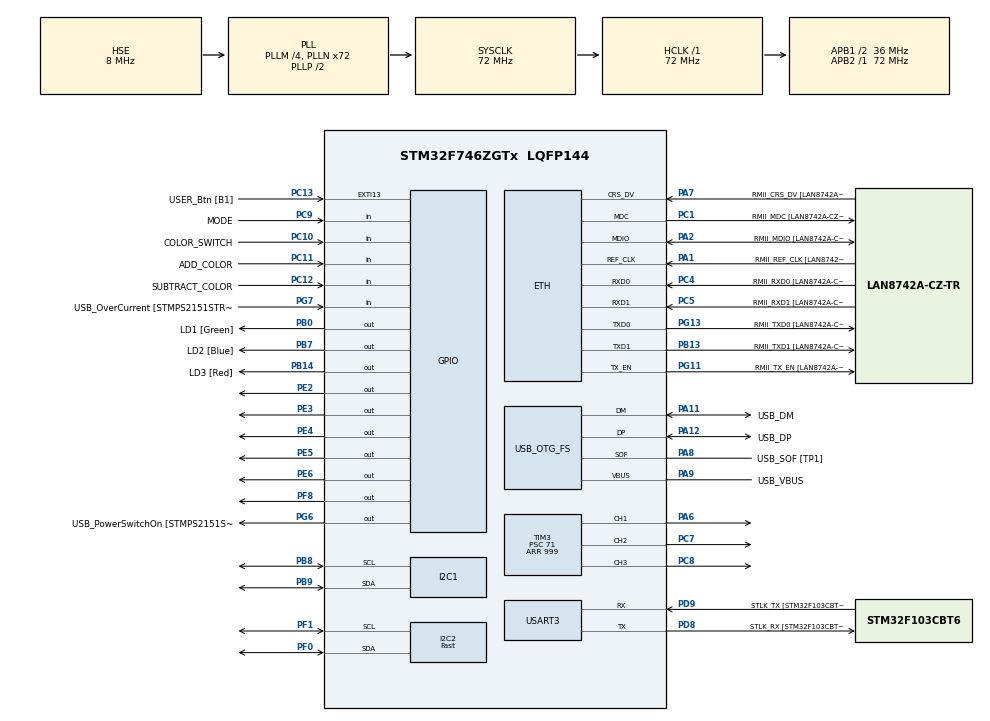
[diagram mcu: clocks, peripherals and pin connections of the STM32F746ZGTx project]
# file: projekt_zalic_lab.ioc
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ETH.MediaInterface=HAL_ETH_RMII_MODE
ETH.PHY_Name=LAN8742A_PHY_ADDRESS
ETH.PHY_Value=0
ETH.PhyAddress=0
I2C1.Timing=0x00808CD2
I2C2.I2C_Speed_Mode=I2C_Fast
I2C2.Timing=0x00301739
Mcu.Family=STM32F7
Mcu.Name=STM32F746ZGTx
Mcu.Package=LQFP144
NVIC.PriorityGroup=NVIC_PRIORITYGROUP_4
PA1.GPIO_Label=RMII_REF_CLK [LAN8742A-CZ-TR_REFCLK0]
PA1.Mode=RMII
PA1.Signal=ETH_REF_CLK
PA10.GPIO_Label=USB_ID
PA10.Signal=USB_OTG_FS_ID
PA11.GPIO_Label=USB_DM
PA11.Mode=Device_Only
PA11.Signal=USB_OTG_FS_DM
PA12.GPIO_Label=USB_DP
PA12.Mode=Device_Only
PA12.Signal=USB_OTG_FS_DP
PA13.GPIO_Label=TMS
PA13.Mode=Serial_Wire
PA13.Signal=SYS_JTMS-SWDIO
PA14.GPIO_Label=TCK
PA14.Mode=Serial_Wire
PA14.Signal=SYS_JTCK-SWCLK
PA2.GPIO_Label=RMII_MDIO [LAN8742A-CZ-TR_MDIO]
PA2.Mode=RMII
PA2.Signal=ETH_MDIO
PA6.Signal=S_TIM3_CH1
PA7.GPIO_Label=RMII_CRS_DV [LAN8742A-CZ-TR_CRS_DV]
PA7.Mode=RMII
PA7.Signal=ETH_CRS_DV
PA8.GPIO_Label=USB_SOF [TP1]
PA8.Mode=Activate_SOF_FS
PA8.Signal=USB_OTG_FS_SOF
PA9.GPIO_Label=USB_VBUS
PA9.Mode=Activate_VBUS
PA9.Signal=USB_OTG_FS_VBUS
PB0.GPIO_Label=LD1 [Green]
PB0.Signal=GPIO_Output
PB13.GPIO_Label=RMII_TXD1 [LAN8742A-CZ-TR_TXD1]
PB13.Mode=RMII
PB13.Signal=ETH_TXD1
PB14.GPIO_Label=LD3 [Red]
PB14.Signal=GPIO_Output
PB3.GPIO_Label=SW0
PB3.Signal=SYS_JTDO-SWO
PB7.GPIO_Label=LD2 [Blue]
PB7.Signal=GPIO_Output
PB8.Mode=I2C
PB8.Signal=I2C1_SCL
PB9.Mode=I2C
PB9.Signal=I2C1_SDA
PC1.GPIO_Label=RMII_MDC [LAN8742A-CZ-TR_MDC]
PC1.Mode=RMII
PC1.Signal=ETH_MDC
PC10.GPIO_Label=COLOR_SWITCH
PC10.Signal=GPIO_Input
PC11.GPIO_Label=ADD_COLOR
PC11.Signal=GPIO_Input
PC12.GPIO_Label=SUBTRACT_COLOR
PC12.Signal=GPIO_Input
PC13.GPIO_Label=USER_Btn [B1]
PC13.Signal=GPXTI13
PC14/OSC32_IN.Mode=LSE-External-Oscillator
PC14/OSC32_IN.Signal=RCC_OSC32_IN
PC15/OSC32_OUT.Mode=LSE-External-Oscillator
PC15/OSC32_OUT.Signal=RCC_OSC32_OUT
PC4.GPIO_Label=RMII_RXD0 [LAN8742A-CZ-TR_RXD0]
PC4.Mode=RMII
PC4.Signal=ETH_RXD0
PC5.GPIO_Label=RMII_RXD1 [LAN8742A-CZ-TR_RXD1]
PC5.Mode=RMII
PC5.Signal=ETH_RXD1
PC7.Signal=S_TIM3_CH2
PC8.Signal=S_TIM3_CH3
PC9.GPIO_Label=MODE
PC9.GPIO_PuPd=GPIO_NOPULL
PC9.Signal=GPIO_Input
PD8.GPIO_Label=STLK_RX [STM32F103CBT6_PA3]
PD8.GPIO_PuPd=GPIO_PULLUP
PD8.Mode=Asynchronous
PD8.Signal=USART3_TX
PD9.GPIO_Label=STLK_TX [STM32F103CBT6_PA2]
PD9.GPIO_PuPd=GPIO_PULLUP
PD9.Mode=Asynchronous
PD9.Signal=USART3_RX
PE2.Signal=GPIO_Output
PE3.Signal=GPIO_Output
PE4.Signal=GPIO_Output
PE5.Signal=GPIO_Output
PE6.Signal=GPIO_Output
PF0.Mode=I2C
PF0.Signal=I2C2_SDA
PF1.Mode=I2C
PF1.Signal=I2C2_SCL
PF8.Signal=GPIO_Output
PG11.GPIO_Label=RMII_TX_EN [LAN8742A-CZ-TR_TXEN]
PG11.Mode=RMII
PG11.Signal=ETH_TX_EN
PG13.GPIO_Label=RMII_TXD0 [LAN8742A-CZ-TR_TXD0]
PG13.Mode=RMII
PG13.Signal=ETH_TXD0
PG6.GPIO_Label=USB_PowerSwitchOn [STMPS2151STR_EN]
PG6.Signal=GPIO_Output
PG7.GPIO_Label=USB_OverCurrent [STMPS2151STR_FAULT]
PG7.Signal=GPIO_Input
PH0/OSC_IN.GPIO_Label=MCO [STM32F103CBT6_PA8]
PH0/OSC_IN.Mode=HSE-External-Clock-Source
PH0/OSC_IN.Signal=RCC_OSC_IN
PH1/OSC_OUT.Mode=HSE-External-Clock-Source
PH1/OSC_OUT.Signal=RCC_OSC_OUT
ProjectManager.HeapSize=0x200
ProjectManager.StackSize=0x400
ProjectManager.TargetToolchain=STM32CubeIDE
RCC.48MHZClocksFreq_Value=24000000
RCC.AHBFreq_Value=72000000
RCC.APB1CLKDivider=RCC_HCLK_DIV2
RCC.APB1Freq_Value=36000000
RCC.APB1TimFreq_Value=72000000
RCC.APB2Freq_Value=72000000
RCC.APB2TimFreq_Value=72000000
RCC.CortexFreq_Value=72000000
RCC.HCLKFreq_Value=72000000
RCC.HSE_VALUE=8000000
RCC.HSI_VALUE=16000000
RCC.PLLM=4
RCC.PLLMUL=RCC_PLL_MUL9
RCC.PLLN=72
RCC.PLLQ=3
RCC.PRESCALERUSB=RCC_USBCLKSOURCE_PLL_DIV1_5
RCC.SYSCLKFreq_VALUE=72000000
RCC.SYSCLKSource=RCC_SYSCLKSOURCE_PLLCLK
RCC.SYSCLKSourceVirtual=RCC_SYSCLKSOURCE_PLLCLK
RCC.USBFreq_Value=48000000
RCC.VCOOutputFreq_Value=144000000
SH.S_TIM3_CH1.0=TIM3_CH1,PWM Generation1 CH1
SH.S_TIM3_CH2.0=TIM3_CH2,PWM Generation2 CH2
SH.S_TIM3_CH3.0=TIM3_CH3,PWM Generation3 CH3
TIM3.Channel-PWM\ Generation1\ CH1=TIM_CHANNEL_1
TIM3.Channel-PWM\ Generation2\ CH2=TIM_CHANNEL_2
TIM3.Channel-PWM\ Generation3\ CH3=TIM_CHANNEL_3
TIM3.Period=999
TIM3.Prescaler=71
TIM3.Pulse-PWM\ Generation3\ CH3=500
USART3.VirtualMode-Asynchronous=VM_ASYNC
USB_OTG_FS.VirtualMode=Device_Only
board=NUCLEO-F746ZG

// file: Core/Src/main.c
/* USER CODE BEGIN Header */
/**
  ******************************************************************************
  * @file           : main.c
  * @brief          : Main program body
  ******************************************************************************
  * @attention
  *
  * Copyright (c) 2024 STMicroelectronics.
  * All rights reserved.
  *
  * This software is licensed under terms that can be found in the LICENSE file
  * in the root directory of this software component.
  * If no LICENSE file comes with this software, it is provided AS-IS.
  *
  ******************************************************************************
  */
/* USER CODE END Header */
#include "main.h"
#include "eth.h"
#include "i2c.h"
#include "tim.h"
#include "usart.h"
#include "usb_otg.h"
#include "gpio.h"
#include "ssd1306.h"
#include "ssd1306_tests.h"
#include "ssd1306_fonts.h"

/* USER CODE BEGIN Includes */
#include <string.h>
#include <stdio.h>
#include <stdlib.h>
#include <stdbool.h>  // For boolean data type (bool, true, false)
/* USER CODE END Includes */

/* USER CODE BEGIN PD */
#define INPUT_UART_BUFFER_SIZE 4
#define ISL29125_I2C_ADDRESS (0x44 << 1)  // Adres 7-bitowy przesunięty w lewo
# define PWM_FREQUENCY 1000 // Częstotliwość PWM 1 kHz
# define FRAME_LENGTH 5
# define FRAME_SIZE 12 // Komenda ma długość 9 znaków: R050G025B075
/* USER CODE END PD */

/* USER CODE BEGIN PV */
char uart_buffer[50];
char input_uart_buffer[INPUT_UART_BUFFER_SIZE];
char temp_buffer[10];
volatile uint8_t input_uart_index = 0;
volatile uint8_t input_data_ready = 0;
const int MAX_RED_PWM = 21;
const int MAX_GREEN_PWM = 35;
const int MAX_BLUE_PWM = 20;
int R_value = 0;
int G_value = 0;
int B_value = 0;
int R_PWM_channel = 0;
int G_PWM_channel = 0;
int B_PWM_channel = 0;
int color_switch = 0;
int pause_for_user_input = 200;
int pause_for_led = 0;
int max_PWM_red_value = MAX_RED_PWM;
int max_PWM_green_value = MAX_GREEN_PWM;
int max_PWM_blue_value = MAX_BLUE_PWM;
int test_sizeof = 0;
int timer_val;
int oled_screen = 0;
int oled_x_counter = 0;
int oled_x_number_left = 10;
int oled_x_number_right = 20;
int oled_x_coordinate_left = 57;
int oled_x_coordinate_right = 115;
bool normal_mode = true;
bool test;
bool is_number_long = false;
char previous_temp_buffer[10];
char buffor_for_lcd[10];
char mode_normal[] = "mode:normal";
char mode_high[] = "mode:high";
char help[] = "help";
char red_str[3];
char green_str[3];
char blue_str[3];
char number_left[4];
char number_right[4];
//char oled[] = "Hello oled";
void SystemClock_Config(void);

/* USER CODE BEGIN 0 */

void ISL29125_Init() {
    uint8_t config_data[2];

    // Ustawienie trybu pracy
    config_data[0] = 0x01;  // Rejestr konfiguracji
    config_data[1] = 0x05;  // RGB mode, high range, 10-bit resolution
    if (HAL_I2C_Master_Transmit(&hi2c1, ISL29125_I2C_ADDRESS, config_data, 2, HAL_MAX_DELAY) != HAL_OK) {
        HAL_UART_Transmit(&huart3, (uint8_t *)"I2C error in step 1\r\n", strlen("I2C error in step 1\r\n"), HAL_MAX_DELAY);
        Error_Handler();
    }

    // Ustawienie progu pomiarowego (opcjonalne)
    config_data[0] = 0x02;  // Rejestr parametru
    config_data[1] = 0x00;  // Domyślny próg
    if (HAL_I2C_Master_Transmit(&hi2c1, ISL29125_I2C_ADDRESS, config_data, 2, HAL_MAX_DELAY) != HAL_OK) {
        HAL_UART_Transmit(&huart3, (uint8_t *)"I2C error in step 2\r\n", strlen("I2C error in step 2\r\n"), HAL_MAX_DELAY);
        Error_Handler();
    }
    return 0;
}

uint16_t ISL29125_ReadColor(uint8_t color_register) {
    uint8_t reg = color_register;
    uint8_t data[2];

    // Wyślij adres rejestru do odczytu
    if (HAL_I2C_Master_Transmit(&hi2c1, ISL29125_I2C_ADDRESS, &reg, 1, HAL_MAX_DELAY) != HAL_OK) {
        HAL_UART_Transmit(&huart3, (uint8_t *)"I2C error during read transmit\r\n", strlen("I2C error during read transmit\r\n"), HAL_MAX_DELAY);
        Error_Handler();
    }

    // Odczytaj dane (2 bajty)
    if (HAL_I2C_Master_Receive(&hi2c1, ISL29125_I2C_ADDRESS, data, 2, HAL_MAX_DELAY) != HAL_OK) {
        HAL_UART_Transmit(&huart3, (uint8_t *)"I2C error during read receive\r\n", strlen("I2C error during read receive\r\n"), HAL_MAX_DELAY);
        Error_Handler();
    }

    // Połącz 2 bajty w 16-bitową wartość
    return (data[1] << 8) | data[0];
}

uint8_t map_value(uint16_t input_value, uint16_t in_min, uint16_t in_max, uint8_t out_min, uint8_t out_max) {
    return (uint8_t)(((input_value - in_min) * (out_max - out_min)) / (in_max - in_min) + out_min);
}

void PWM_Config ( TIM_HandleTypeDef *htim, uint32_t channel, uint32_t frequency, uint32_t duty_cycle ) {
	/* USER CODE BEGIN PWM_Config */
	uint32_t timer_clock = HAL_RCC_GetPCLK1Freq () ; // Zakładamy , że TIM2 jest podłączony do APB1
	uint32_t prescaler = ( timer_clock / ( frequency * 1000) ) - 1; // Preskaler ,aby uzyska ć 1 kHz
	uint32_t period = 1000 - 1; // Okres dla PWM , aby uzyska ć 1000 krok ów ( maks. wypełnienie = 100%)
	uint32_t pulse = ( duty_cycle * ( period + 1) ) / 100; // Wyliczenie wypełnienia na podstawie %

	// Ustawienia preskalera i okresu
	htim -> Init.Prescaler = prescaler;
	htim -> Init.Period = period;
	HAL_TIM_PWM_Init(htim);

	// Konfiguracja wype ł nienia dla wybranego kana łu
	TIM_OC_InitTypeDef sConfigOC;
	sConfigOC . OCMode = TIM_OCMODE_PWM1;
	sConfigOC . Pulse = pulse;
	sConfigOC . OCPolarity = TIM_OCPOLARITY_HIGH;
	sConfigOC . OCFastMode = TIM_OCFAST_DISABLE;

	// Konfiguracja wyjś cia PWM dla wybranego kana łu
	HAL_TIM_PWM_ConfigChannel (htim, &sConfigOC , channel);

/* USER CODE END PWM_Config */
}

void high_mode_Config() {
	normal_mode = false;
	max_PWM_red_value = 100;
	max_PWM_green_value = 100;
	max_PWM_blue_value = 100;

	LCD_Set_Cursor(0, 0);
	LCD_Send_String("MODE: high  ");
}

void normal_mode_Config() {
	normal_mode = true;
	max_PWM_red_value = MAX_RED_PWM;
	max_PWM_green_value = MAX_GREEN_PWM;
	max_PWM_blue_value = MAX_BLUE_PWM;
	if(R_PWM_channel > max_PWM_red_value) {
		R_PWM_channel = max_PWM_red_value;
	}
	if(G_PWM_channel > max_PWM_green_value) {
		G_PWM_channel = max_PWM_green_value;
	}
	if(B_PWM_channel > max_PWM_blue_value) {
		B_PWM_channel = max_PWM_blue_value;
	}

	LCD_Set_Cursor(0, 0);
	LCD_Send_String("MODE: normal");
}

void rewrite_previous_temp_buffer() {
	for(int k = 0; k < 4; k++) {
		previous_temp_buffer[k] = temp_buffer[k];
	}
}

bool check_mode_normal() {
	for(int i = 0; i < 11; i++) {
		if(temp_buffer[i] != mode_normal[i]) {
			return false;
			exit(0);
		}
	}
	return true;
}

int check_mode_high() {
	for(int i = 0; i < 9; i++) {
		if(temp_buffer[i] != mode_high[i]) {
			return 0;
			exit(0);
		}
	}
	return 1;
}

int check_help() {
	for(int i = 0; i < 4; i++) {
		if(temp_buffer[i] != help[i]) {
			return 0;
			exit(0);
		}
	}
	return 1;
}

/* USER CODE END 0 */

int main(void)
{

  /* MCU Configuration--------------------------------------------------------*/

  /* Reset of all peripherals, Initializes the Flash interface and the Systick. */
  HAL_Init();

  /* Configure the system clock */
  SystemClock_Config();

  /* Initialize all configured peripherals */
  MX_GPIO_Init();
  MX_ETH_Init();
  MX_USART3_UART_Init();
  MX_USB_OTG_FS_PCD_Init();
  MX_I2C1_Init();
  MX_TIM3_Init();
  MX_I2C2_Init();
  /* USER CODE BEGIN 2 */
  HAL_UART_Transmit(&huart3, (uint8_t *)"Starting I2C scan...\r\n", strlen("Starting I2C scan...\r\n"), HAL_MAX_DELAY);
  I2C_Scan();
  LCD_Init();

  ssd1306_Init();

  ISL29125_Init();
  snprintf(uart_buffer, sizeof(uart_buffer), "ISL29125 Initialized\r\n");
  HAL_UART_Transmit(&huart3, (uint8_t *)uart_buffer, strlen(uart_buffer), HAL_MAX_DELAY);

  LCD_Clear();
  LCD_Set_Cursor(0, 0);
  LCD_Send_String("MODE: normal");
  LCD_Set_Cursor(0, 13);
  LCD_Send_String("C:R");
  LCD_Set_Cursor(1, 0);
  LCD_Send_String("R0");
  LCD_Set_Cursor(1, 5);
  LCD_Send_String("G0");
  LCD_Set_Cursor(1, 10);
  LCD_Send_String("B0");

  uint32_t last_time_update = HAL_GetTick();
  sprintf(number_left, "%u", oled_x_number_left);
  sprintf(number_right, "%u", oled_x_number_right);
  /* USER CODE END 2 */

  /* Infinite loop */
  while (1)
  {

    /* USER CODE BEGIN 3 */
	  //ssd1306_TestAll();
	  uint16_t green_raw = ISL29125_ReadColor(0x09);    // Odczyt RED
	  uint16_t red_raw = ISL29125_ReadColor(0x0B);  // Odczyt GREEN
	  uint16_t blue_raw = ISL29125_ReadColor(0x0D);   // Odczyt BLUE

	  // Mapowanie wartości do zakresu 0–255
	  uint8_t red = map_value(red_raw, 0, 65535, 0, 255);
	  uint8_t green = map_value(green_raw, 0, 65535, 0, 255);
	  uint8_t blue = map_value(blue_raw, 0, 65535, 0, 255);

	  test = HAL_GPIO_ReadPin(MODE_GPIO_Port, MODE_Pin);

	  test_sizeof = sizeof(temp_buffer);

	  if(HAL_GPIO_ReadPin(MODE_GPIO_Port, MODE_Pin) == 1) {
		  if(normal_mode == true) {
			  high_mode_Config();
		  } else if (normal_mode == false) {
			  normal_mode_Config();
		  }
	  }

	  if(HAL_GPIO_ReadPin(COLOR_SWITCH_GPIO_Port, COLOR_SWITCH_Pin) == 1) {
		  if(color_switch == 0) {
			  color_switch = 1;
			  LCD_Set_Cursor(0, 15);
			  LCD_Send_String("G");

		  } else if(color_switch == 1) {
			  color_switch = 2;
			  LCD_Set_Cursor(0, 15);
			  LCD_Send_String("B");
		  } else if(color_switch == 2) {
			  color_switch = 0;
		      LCD_Set_Cursor(0, 15);
			  LCD_Send_String("R");
		  }
	  }

	  if(HAL_GPIO_ReadPin(ADD_COLOR_GPIO_Port, ADD_COLOR_Pin) == 1) {
		  if(color_switch == 0 && R_value < 255) {
			  R_value++;
			  sprintf(buffor_for_lcd, "%d", R_value);
			  LCD_Set_Cursor(1, 1);
			  LCD_Send_String(buffor_for_lcd);
			  if(R_value < 10) {
				  LCD_Set_Cursor(1, 2);
				  LCD_Send_String(" ");
			  }
			  if(R_value < 100) {
				  LCD_Set_Cursor(1, 3);
				  LCD_Send_String(" ");
			  }
		  } else if (color_switch == 1 && G_value < 255) {
			  G_value++;
			  sprintf(buffor_for_lcd, "%d", G_value);
			  LCD_Set_Cursor(1, 6);
			  LCD_Send_String(buffor_for_lcd);
			  if(G_value < 10) {
				  LCD_Set_Cursor(1, 7);
				  LCD_Send_String(" ");
			  }
			  if(G_value < 100) {
				  LCD_Set_Cursor(1, 8);
				  LCD_Send_String(" ");
			  }
		  } else if (color_switch == 2 && B_value < 255) {
			  B_value++;
			  sprintf(buffor_for_lcd, "%d", B_value);
			  LCD_Set_Cursor(1, 11);
			  LCD_Send_String(buffor_for_lcd);
			  if(B_value < 10) {
				  LCD_Set_Cursor(1, 12);
				  LCD_Send_String(" ");
			  }
			  if(B_value < 100) {
				  LCD_Set_Cursor(1, 13);
				  LCD_Send_String(" ");
			  }
		  }
	  }

	  if(HAL_GPIO_ReadPin(SUBTRACT_COLOR_GPIO_Port, SUBTRACT_COLOR_Pin) == 1) {
		  if(color_switch == 0 && R_value > 0) {
			  R_value--;
			  sprintf(buffor_for_lcd, "%d", R_value);
			  LCD_Set_Cursor(1, 1);
			  LCD_Send_String(buffor_for_lcd);
			  if(R_value < 10) {
				  LCD_Set_Cursor(1, 2);
				  LCD_Send_String(" ");
			  }
			  if(R_value < 100) {
				  LCD_Set_Cursor(1, 3);
				  LCD_Send_String(" ");
			  }
		  } else if(color_switch == 1 && G_value > 0) {
			  G_value--;
			  sprintf(buffor_for_lcd, "%d", G_value);
			  LCD_Set_Cursor(1, 6);
			  LCD_Send_String(buffor_for_lcd);
			  if(G_value < 10) {
				  LCD_Set_Cursor(1, 7);
				  LCD_Send_String(" ");
			  }
			  if(G_value < 100) {
				  LCD_Set_Cursor(1, 8);
				  LCD_Send_String(" ");
			  }

		  } else if(color_switch == 2 && B_value > 0) {
			  B_value--;
			  sprintf(buffor_for_lcd, "%d", B_value);
			  LCD_Set_Cursor(1, 11);
			  LCD_Send_String(buffor_for_lcd);
			  if(B_value < 10) {
				  LCD_Set_Cursor(1, 12);
				  LCD_Send_String(" ");
			  }
			  if(B_value < 100) {
				  LCD_Set_Cursor(1, 13);
				  LCD_Send_String(" ");
			  }
		  }
	  }

	  if(HAL_GPIO_ReadPin(USER_Btn_GPIO_Port, USER_Btn_Pin) == 1) {
		  	  if(oled_screen != 3) {
		  		oled_screen++;
		  	  } else {
		  		  oled_screen = 0;
		  	  }
	  		  oled_x_counter = 0;
	  		  ssd1306_Fill(Black);
	  		  oled_x_number_left = 10;
	  		  oled_x_number_right = 20;
	  		  sprintf(number_left, "%u", oled_x_number_left);
	  		  sprintf(number_right, "%u", oled_x_number_right);
	  		  oled_x_coordinate_left = 57;
	  		  oled_x_coordinate_right = 115;
	  	  }

	  if(pause_for_led >= 500) {
		  if(red < R_value) {
			  if(R_PWM_channel < max_PWM_red_value) {
				  R_PWM_channel++;
			  }
		  } else if(red > R_value) {
			  if(R_PWM_channel > 0) {
				  R_PWM_channel--;
			  }
		  }

		  if(green < G_value) {
			  if(G_PWM_channel < max_PWM_green_value) {
				  G_PWM_channel++;
			  }
		  } else if(green > G_value) {
			  if(G_PWM_channel > 0) {
				  G_PWM_channel--;
			  }
		  }

		  if(blue < B_value) {
			  if(B_PWM_channel < max_PWM_blue_value) {
				  B_PWM_channel++;
			  }
		  } else if(blue > B_value) {
			  if(B_PWM_channel > 0) {
				  B_PWM_channel--;
			  }
		  }
		  pause_for_led = 0;
	  } else {
		  pause_for_led = pause_for_led + pause_for_user_input;
	  }

	  PWM_Config (&htim3 , TIM_CHANNEL_1 , PWM_FREQUENCY , R_PWM_channel ) ;
	  PWM_Config (&htim3 , TIM_CHANNEL_2 , PWM_FREQUENCY , G_PWM_channel ) ;
	  PWM_Config (&htim3 , TIM_CHANNEL_3 , PWM_FREQUENCY , B_PWM_channel ) ;

	  HAL_TIM_PWM_Start (&htim3 , TIM_CHANNEL_1 ) ;
	  HAL_TIM_PWM_Start (&htim3 , TIM_CHANNEL_2 ) ;
	  HAL_TIM_PWM_Start (&htim3 , TIM_CHANNEL_3 ) ;

	  snprintf(uart_buffer, sizeof(uart_buffer), "R: %u, G: %u, B: %u\r\n", red, green, blue);
	  HAL_UART_Transmit(&huart3, (uint8_t *)uart_buffer, strlen(uart_buffer), HAL_MAX_DELAY);

	  HAL_UART_Receive(&huart3, (uint8_t *)temp_buffer, 11, pause_for_user_input);
	  // Wyślij odebrane dane z powrotem
	  HAL_UART_Transmit(&huart3, (uint8_t *)"Received: ", strlen("Received: "), HAL_MAX_DELAY);

	  HAL_UART_Transmit(&huart3, (uint8_t *)temp_buffer, 11, HAL_MAX_DELAY);
	  HAL_UART_Transmit(&huart3, (uint8_t *)"\r\n", 2, HAL_MAX_DELAY);

	  if(normal_mode == 1) {
		  HAL_UART_Transmit(&huart3, (uint8_t *)"MODE: normal\r\n", strlen("MODE: normal\r\n"), HAL_MAX_DELAY);
	  }
	  else if(normal_mode == 0) {
		  HAL_UART_Transmit(&huart3, (uint8_t *)"MODE: high\r\n", strlen("MODE: high\r\n"), HAL_MAX_DELAY);
	  }

	  for(int i = 0; i < 11; i++) {
		  if (previous_temp_buffer[i] != temp_buffer[i]) {
			  if(temp_buffer[11] != '\000' || temp_buffer[0] == '\000' || temp_buffer[1] == '\000' || temp_buffer[2] == '\000' || temp_buffer[3] == '\000') {
				  HAL_UART_Transmit(&huart3, (uint8_t *)"incorrect commnand\r\n", strlen("incorrect commnand\r\n"), HAL_MAX_DELAY);
				  break;
			  }
			  if(check_mode_normal() == 1) {
				  normal_mode_Config();
				  rewrite_previous_temp_buffer();
				  break;
			  }
			  else if(check_mode_high() == 1) {
				  high_mode_Config();
				  temp_buffer[9] = '\000';
				  temp_buffer[10] = '\000';
				  rewrite_previous_temp_buffer();
				  break;
			  }
			  else if(check_help() == 1) {
				  HAL_UART_Transmit(&huart3, (uint8_t *)"mode:normal - enter normal mode\r\n", strlen("mode:normal - enter normal mode\r\n"), HAL_MAX_DELAY);
				  HAL_UART_Transmit(&huart3, (uint8_t *)"mode:high - enter high mode\r\n", strlen("mode:high - enter high mode\r\n"), HAL_MAX_DELAY);
				  HAL_UART_Transmit(&huart3, (uint8_t *)"COLORXXX - enter parameter to special color, where:\r\n", strlen("COLORXXX - enter parameter to special color, where:\r\n"), HAL_MAX_DELAY);
				  HAL_UART_Transmit(&huart3, (uint8_t *)"in the place COLOR - enter your desired color (R, G, B)\r\n", strlen("in the place COLOR - enter your desired color (R, G, B)\r\n"), HAL_MAX_DELAY);
				  //HAL_UART_Transmit(&huart3, (uint8_t *)"color (R, G, B)\r\n", strlen("color (R, G, B)\r\n"), HAL_MAX_DELAY);
				  HAL_UART_Transmit(&huart3, (uint8_t *)"in the place XXX - enter your desired color value (0 - 255)\r\n", strlen("in the place XXX - enter your desired color value (0 - 255)\r\n"), HAL_MAX_DELAY);
				  HAL_UART_Transmit(&huart3, (uint8_t *)"for example: R175\r\n", strlen("for example: R175\r\n"), HAL_MAX_DELAY);
				  //HAL_UART_Transmit(&huart3, (uint8_t *)"R175\r\n", strlen("R175\r\n"), HAL_MAX_DELAY);
				  for(int k = 4; k < 11; k++) {
					  temp_buffer[k] = '\000';
				  }
				  rewrite_previous_temp_buffer();
				  break;
			  }
			  else if(((temp_buffer[1] - '0') * 100 + (temp_buffer[2] - '0') * 10 + temp_buffer[3] - '0') > 255 || ((temp_buffer[1] - '0') * 100 + (temp_buffer[2] - '0') * 10 + temp_buffer[3] - '0') < 0) {
				  HAL_UART_Transmit(&huart3, (uint8_t *)"incorrect commnand\r\n", strlen("incorrect commnand\r\n"), HAL_MAX_DELAY);
				  break;
			  }
			  if (temp_buffer[0] == 'R') {
				  R_value = (temp_buffer[1] - '0') * 100 + (temp_buffer[2] - '0') * 10 + temp_buffer[3] - '0';
				  sprintf(buffor_for_lcd, "%d", R_value);
				  LCD_Set_Cursor(1, 1);
				  LCD_Send_String(buffor_for_lcd);
				  if(R_value < 10) {
					  LCD_Set_Cursor(1, 2);
					  LCD_Send_String(" ");
				  }
				  if(R_value < 100) {
					  LCD_Set_Cursor(1, 3);
					  LCD_Send_String(" ");
				  }
			  } else if (temp_buffer[0] == 'G') {
				  G_value = (temp_buffer[1] - '0') * 100 + (temp_buffer[2] - '0') * 10 + temp_buffer[3] - '0';
				  sprintf(buffor_for_lcd, "%d", G_value);
				  LCD_Set_Cursor(1, 6);
				  LCD_Send_String(buffor_for_lcd);
				  if(G_value < 10) {
					  LCD_Set_Cursor(1, 7);
					  LCD_Send_String(" ");
				  }
				  if(G_value < 100) {
					  LCD_Set_Cursor(1, 8);
					  LCD_Send_String(" ");
				  }
			  } else if (temp_buffer[0] == 'B'){
				  B_value = (temp_buffer[1] - '0') * 100 + (temp_buffer[2] - '0') * 10 + temp_buffer[3] - '0';
				  sprintf(buffor_for_lcd, "%d", B_value);
				  LCD_Set_Cursor(1, 11);
				  LCD_Send_String(buffor_for_lcd);
				  if(B_value < 10) {
					  LCD_Set_Cursor(1, 12);
					  LCD_Send_String(" ");
				  }
				  if(B_value < 100) {
					  LCD_Set_Cursor(1, 13);
					  LCD_Send_String(" ");
				  }
			  } else {
				  HAL_UART_Transmit(&huart3, (uint8_t *)"incorrect commnand\r\n", strlen("incorrect commnand\r\n"), HAL_MAX_DELAY);
				  break;
			  }
			  for(int k = 4; k < 11; k++) {
				  temp_buffer[k] = '\000';
			  }
			  rewrite_previous_temp_buffer();
			  break;
		  }
	  }

	  if ( HAL_GetTick() - last_time_update >= 100) {
		  if (oled_screen == 0) {
			  sprintf(red_str, "%u", red);
			  sprintf(green_str, "%u", green);
			  sprintf(blue_str, "%u", blue);
			  ssd1306_Fill(Black);

			  ssd1306_SetCursor(31, 1);
			  ssd1306_WriteString("Red:", Font_11x18, White);
			  ssd1306_WriteString(red_str, Font_11x18, White);

			  ssd1306_SetCursor(29, 20);
			  ssd1306_WriteString("Green:", Font_11x18, White);
			  ssd1306_WriteString(green_str, Font_11x18, White);

			  ssd1306_SetCursor(30, 40);
			  ssd1306_WriteString("Blue:", Font_11x18, White);
			  ssd1306_WriteString(blue_str, Font_11x18, White);

			  ssd1306_UpdateScreen();
		  }	else if(oled_screen == 1 || oled_screen == 2 || oled_screen == 3) {
			  ssd1306_Line(22, 1, 22, 64, White);
			  ssd1306_Line(19, 4, 22, 1, White);
			  ssd1306_Line(22, 1, 25, 4, White);
			  ssd1306_SetCursor(1, 10);
			  ssd1306_WriteString("255", Font_6x8, White);
			  ssd1306_SetCursor(1, 22);
			  ssd1306_WriteString("170", Font_6x8, White);
			  ssd1306_SetCursor(6, 35);
			  ssd1306_WriteString("85", Font_6x8, White);
			  ssd1306_SetCursor(oled_x_coordinate_left, 56);
			  ssd1306_WriteString(number_left, Font_6x8, White);
			  ssd1306_SetCursor(oled_x_coordinate_right, 56);
			  ssd1306_WriteString(number_right, Font_6x8, White);
			  ssd1306_Line(1, 50, 128, 50, White);
			  ssd1306_Line(125, 47, 128, 50, White);
			  ssd1306_Line(125, 53, 128, 50, White);
			  ssd1306_SetCursor(122, 38);
			  ssd1306_WriteString("t", Font_6x8, White);

			  for (int i = 1; i < 11; i++) {
				  ssd1306_Line(22 + i * 10, 48, 22 + i * 10, 52, White);
			  }
			  for (int i = 1; i < 4; i++) {
				  ssd1306_Line(20, 13 * i, 24, 13 * i, White);
			  }

			  if(oled_x_counter + 23 == 129) {
				  ssd1306_Fill(Black);
				  oled_x_counter = 0;
				  oled_x_number_left = oled_x_number_left + 20;
				  oled_x_number_right = oled_x_number_right + 20;
				  sprintf(number_left, "%u", oled_x_number_left);
				  sprintf(number_right, "%u", oled_x_number_right);

				  if(oled_x_number_right >= 100) {
					  oled_x_coordinate_right = 109;
				  }
				  if(oled_x_number_left >= 100) {
					  oled_x_coordinate_left = 54;
				  }
				  if(oled_x_number_right >= 980) {
					  oled_x_number_left = 10;
					  oled_x_number_right = 20;
					  oled_x_coordinate_left = 57;
					  oled_x_coordinate_right = 115;
					  sprintf(number_left, "%u", oled_x_number_left);
					  sprintf(number_right, "%u", oled_x_number_right);
				  }
			  }

			  ssd1306_SetCursor(31, 1);
			  if (oled_screen == 1) {
				  ssd1306_WriteString("Red", Font_6x8, White);
			  } else if (oled_screen == 2) {
				  ssd1306_WriteString("Green", Font_6x8, White);
			  } else if (oled_screen == 3) {
				  ssd1306_WriteString("Blue", Font_6x8, White);
			  }
			  if (oled_screen == 1) {
				  ssd1306_DrawPixel(oled_x_counter + 23, 63 - map_value(red, 0, 255, 13, 50), White);
			  } else if (oled_screen == 2) {
				  ssd1306_DrawPixel(oled_x_counter + 23, 63 - map_value(green, 0, 255, 13, 50), White);
			  } else if (oled_screen == 3) {
				  ssd1306_DrawPixel(oled_x_counter + 23, 63 - map_value(blue, 0, 255, 13, 50), White);
			  }
			  oled_x_counter++;

			  ssd1306_UpdateScreen();
		  }
		  last_time_update = HAL_GetTick();
	  }

  }
  /* USER CODE END 3 */
}

void SystemClock_Config(void)
{
  RCC_OscInitTypeDef RCC_OscInitStruct = {0};
  RCC_ClkInitTypeDef RCC_ClkInitStruct = {0};

  /** Configure LSE Drive Capability
  */
  HAL_PWR_EnableBkUpAccess();

  /** Configure the main internal regulator output voltage
  */
  __HAL_RCC_PWR_CLK_ENABLE();
  __HAL_PWR_VOLTAGESCALING_CONFIG(PWR_REGULATOR_VOLTAGE_SCALE3);

  /** Initializes the RCC Oscillators according to the specified parameters
  * in the RCC_OscInitTypeDef structure.
  */
  RCC_OscInitStruct.OscillatorType = RCC_OSCILLATORTYPE_HSE;
  RCC_OscInitStruct.HSEState = RCC_HSE_BYPASS;
  RCC_OscInitStruct.PLL.PLLState = RCC_PLL_ON;
  RCC_OscInitStruct.PLL.PLLSource = RCC_PLLSOURCE_HSE;
  RCC_OscInitStruct.PLL.PLLM = 4;
  RCC_OscInitStruct.PLL.PLLN = 72;
  RCC_OscInitStruct.PLL.PLLP = RCC_PLLP_DIV2;
  RCC_OscInitStruct.PLL.PLLQ = 3;
  if (HAL_RCC_OscConfig(&RCC_OscInitStruct) != HAL_OK)
  {
    Error_Handler();
  }

  /** Initializes the CPU, AHB and APB buses clocks
  */
  RCC_ClkInitStruct.ClockType = RCC_CLOCKTYPE_HCLK|RCC_CLOCKTYPE_SYSCLK
                              |RCC_CLOCKTYPE_PCLK1|RCC_CLOCKTYPE_PCLK2;
  RCC_ClkInitStruct.SYSCLKSource = RCC_SYSCLKSOURCE_PLLCLK;
  RCC_ClkInitStruct.AHBCLKDivider = RCC_SYSCLK_DIV1;
  RCC_ClkInitStruct.APB1CLKDivider = RCC_HCLK_DIV2;
  RCC_ClkInitStruct.APB2CLKDivider = RCC_HCLK_DIV1;

  if (HAL_RCC_ClockConfig(&RCC_ClkInitStruct, FLASH_LATENCY_2) != HAL_OK)
  {
    Error_Handler();
  }
}

/* USER CODE BEGIN 4 */
void I2C_Scan() {
    char msg[64];
    HAL_UART_Transmit(&huart3, (uint8_t *)"Scanning I2C bus...\r\n", strlen("Scanning I2C bus...\r\n"), HAL_MAX_DELAY);

    for (uint8_t address = 1; address < 128; address++) {
        // Sprawdź, czy urządzenie odpowiada na dany adres
        if (HAL_I2C_IsDeviceReady(&hi2c1, (address << 1), 1, 10) == HAL_OK) {
            snprintf(msg, sizeof(msg), "Device found at address: 0x%02X\r\n", address);
            HAL_UART_Transmit(&huart3, (uint8_t *)msg, strlen(msg), HAL_MAX_DELAY);
        }
    }

    HAL_UART_Transmit(&huart3, (uint8_t *)"I2C scan complete.\r\n", strlen("I2C scan complete.\r\n"), HAL_MAX_DELAY);
}

/* USER CODE END 4 */

void Error_Handler(void)
{
  __disable_irq();
  while (1)
  {
  }
}
